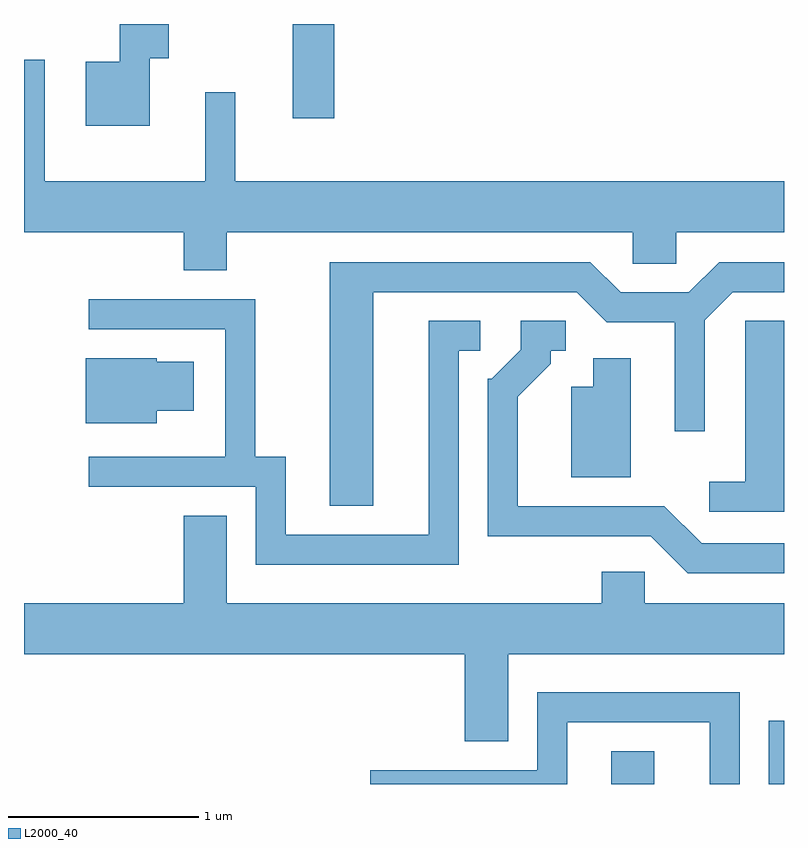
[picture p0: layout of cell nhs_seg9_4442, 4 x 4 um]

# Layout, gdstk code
import gdstk
lib = gdstk.Library(unit=1e-6, precision=1e-09)
def R(c, l, rs):  # rectangles x0, y0, x1, y1
    for r in rs: c.add(gdstk.rectangle(r[:2], r[2:], *l))
def P(c, l, *ps):  # polygons
    for p in ps: c.add(gdstk.Polygon(p, *l))
L2000_40 = (2000, 40)

nhs_seg9_4442 = lib.new_cell('nhs_seg9_4442')
R(nhs_seg9_4442, L2000_40, [(318.701,2024.432,318.929,2024.604), (319.531,2024.432,319.611,2024.764), (317.026,2027.936,317.244,2028.432)])
P(nhs_seg9_4442, L2000_40, [(316.274,2028.251),(316.374,2028.251),(316.374,2028.432),(316.116,2028.432),(316.116,2028.234),(315.936,2028.234),(315.936,2027.896),(316.274,2027.896)],
  [(316.679,2027.336),(318.816,2027.336),(318.816,2027.171),(319.044,2027.171),(319.044,2027.336),(319.611,2027.336),(319.611,2027.604),(316.724,2027.604),(316.724,2028.073),(316.566,2028.073),(316.566,2027.604),(315.719,2027.604),(315.719,2028.243),(315.611,2028.243),(315.611,2027.336),(316.451,2027.336),(316.451,2027.136),(316.679,2027.136)],
  [(317.449,2027.021),(318.519,2027.021),(318.679,2026.861),(319.036,2026.861),(319.036,2026.288),(319.194,2026.288),(319.194,2026.874),(319.342,2027.021),(319.611,2027.021),(319.611,2027.179),(319.269,2027.179),(319.109,2027.019),(318.752,2027.019),(318.592,2027.179),(317.221,2027.179),(317.221,2025.896),(317.449,2025.896)],
  [(317.899,2026.711),(318.013,2026.711),(318.013,2026.869),(317.741,2026.869),(317.741,2025.744),(316.989,2025.744),(316.989,2026.154),(316.829,2026.154),(316.829,2026.984),(315.953,2026.984),(315.953,2026.826),(316.671,2026.826),(316.671,2026.154),(315.953,2026.154),(315.953,2025.996),(316.831,2025.996),(316.831,2025.586),(317.899,2025.586)],
  [(319.611,2026.869),(319.406,2026.869),(319.406,2026.024),(319.218,2026.024),(319.218,2025.866),(319.611,2025.866)],
  [(319.611,2025.699),(319.177,2025.699),(318.982,2025.894),(318.209,2025.894),(318.209,2026.469),(318.384,2026.644),(318.384,2026.711),(318.463,2026.711),(318.463,2026.869),(318.226,2026.869),(318.226,2026.717),(318.074,2026.564),(318.051,2026.564),(318.051,2025.736),(318.909,2025.736),(319.104,2025.541),(319.611,2025.541)],
  [(318.804,2026.674),(318.606,2026.674),(318.606,2026.524),(318.491,2026.524),(318.491,2026.046),(318.804,2026.046)],
  [(316.309,2026.396),(316.504,2026.396),(316.504,2026.654),(316.309,2026.654),(316.309,2026.674),(315.936,2026.674),(315.936,2026.331),(316.309,2026.331)],
  [(318.159,2025.116),(319.611,2025.116),(319.611,2025.384),(318.879,2025.384),(318.879,2025.549),(318.651,2025.549),(318.651,2025.384),(316.679,2025.384),(316.679,2025.844),(316.451,2025.844),(316.451,2025.384),(315.611,2025.384),(315.611,2025.116),(317.931,2025.116),(317.931,2024.656),(318.159,2024.656)],
  [(318.469,2024.756),(319.221,2024.756),(319.221,2024.432),(319.379,2024.432),(319.379,2024.914),(318.311,2024.914),(318.311,2024.504),(317.433,2024.504),(317.433,2024.432),(318.469,2024.432)])

lib.write_gds('nhs_seg9_4442.gds')
